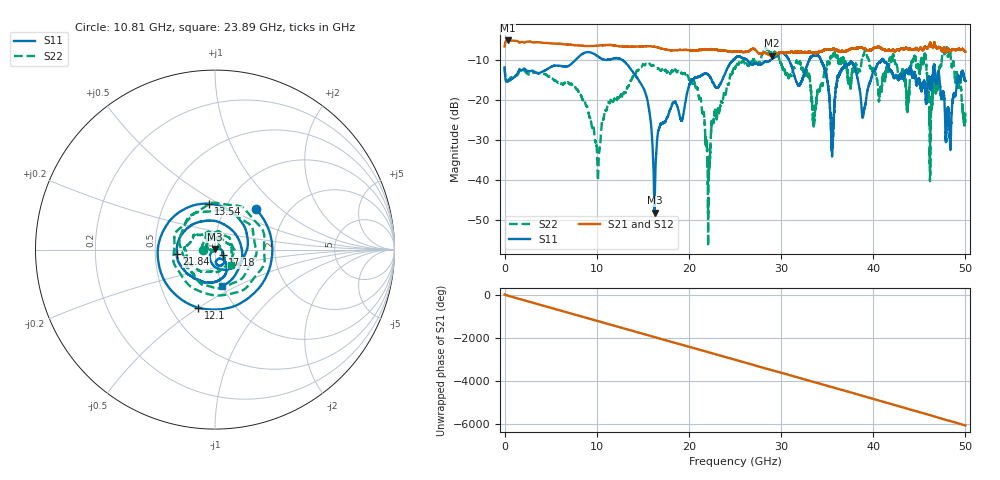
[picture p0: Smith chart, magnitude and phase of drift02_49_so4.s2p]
!Created with skrf (http://scikit-rf.org).
# Hz S RI R 50.0
!freq ReS11 ImS11 ReS21 ImS21 ReS12 ImS12 ReS22 ImS22
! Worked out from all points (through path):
!   10001 points, 300 kHz to 50 GHz, reference 50 ohm
!   highest |S21| = -5.04 dB at 325.3 MHz (marker M1); lowest = -8.9 dB at 28.97 GHz (marker M2)
!   group delay of S21, straight-line fit = 336 ps
!   lowest |S11| = -48.3 dB at 16.27 GHz (marker M3), VSWR 1.01, Z = 49.9 + j0.369 ohm
!   |S11| at or under -10 dB: start of sweep to 7.667 GHz; 12.82 GHz to 24.78 GHz (11.96 GHz wide, 63.6 % of centre); 41.13 GHz to end of sweep (the widest 3 of 9)
!   |S22| runs from -56.7 to -6.7 dB; largest |S21 - S12| = 0.03
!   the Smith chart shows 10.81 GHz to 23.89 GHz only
!   S11 on the Smith chart (normalised r, x): 10.81 GHz: 1.38, +0.70; 12.1 GHz: 0.68, -0.50; 13.54 GHz: 0.82, +0.45; 17.18 GHz: 1.09, -0.06; 21.84 GHz: 0.65, -0.03; 23.89 GHz: 0.99, -0.42
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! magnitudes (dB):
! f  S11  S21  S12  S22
! 300 kHz  -11.8  -6.5  -6.5  -11.7
! 325.3 MHz  -15.3  -5.0  -5.0  -15.1
! 8.335 GHz  -8.6  -6.4  -6.4  -19.1
! 10.11 GHz  -9.0  -6.3  -6.3  -39.1
! 10.81 GHz  -9.9  -6.2  -6.2  -23.6
! 12.1 GHz  -9.5  -6.4  -6.4  -20.4
! 13.54 GHz  -11.8  -6.6  -6.6  -15.9
! 16.27 GHz  -48.3  -6.6  -6.6  -11.7
! 16.67 GHz  -27.8  -6.8  -6.8  -12.2
! 17.18 GHz  -25.8  -7.2  -7.1  -12.6
! 21.84 GHz  -13.4  -7.3  -7.3  -30.2
! 23.89 GHz  -13.6  -7.6  -7.6  -18.3
! 25 GHz  -9.5  -7.8  -7.8  -12.0
! 28.97 GHz  -9.8  -8.9  -8.8  -8.0
! 33.34 GHz  -9.1  -8.0  -8.0  -19.9
! 35.54 GHz  -34.2  -7.3  -7.3  -9.1
! 36.8 GHz  -11.9  -7.8  -7.7  -10.2
! 41.67 GHz  -11.9  -7.4  -7.5  -12.2
! 45.49 GHz  -15.5  -7.1  -7.1  -9.7
! 46.25 GHz  -17.6  -6.1  -6.1  -22.8
! 48.12 GHz  -22.5  -7.2  -7.1  -9.1
! 50 GHz  -15.2  -7.9  -7.9  -23.2
